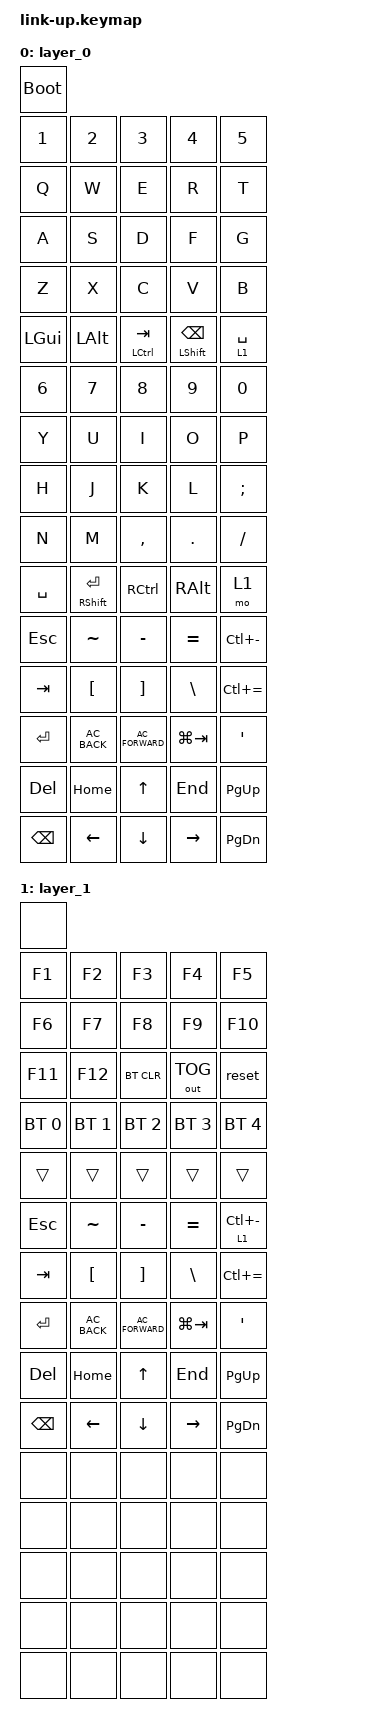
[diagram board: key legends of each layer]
/*
 * Copyright (c) 2020 The ZMK Contributors
 *
 * SPDX-License-Identifier: MIT
 */

#include <behaviors.dtsi>
#include <dt-bindings/zmk/keys.h>
#include <dt-bindings/zmk/bt.h>
#include <dt-bindings/zmk/outputs.h>

#define BACK   C_AC_BACK
#define FWD    C_AC_FORWARD
#define ZM_IN  LC(EQUAL)
#define ZM_OUT LC(MINUS)
#define APPS   LG(TAB)

/ {
	keymap {
		compatible = "zmk,keymap";
		layer_0 {
			bindings = <
&bootloader

&kp N1    &kp N2    &kp N3    &kp N4    &kp N5  
&kp Q     &kp W     &kp E     &kp R     &kp T   
&kp A     &kp S     &kp D     &kp F     &kp G   
&kp Z     &kp X     &kp C     &kp V     &kp B   
&kp LGUI  &kp LALT  &mt LCTRL TAB  &mt LSHFT BSPC  &lt 1 SPACE 

&kp N6    &kp N7    &kp N8    &kp N9    &kp N0   
&kp Y     &kp U     &kp I     &kp O     &kp P    
&kp H     &kp J     &kp K     &kp L     &kp SCLN 
&kp N     &kp M     &kp COMMA  &kp DOT   &kp FSLH 
&kp SPACE &mt RSHFT RET  &kp RCTRL  &kp RALT  &mo 1   

&kp ESC   &kp TILDE &kp MINUS &kp EQUAL &kp ZM_OUT 
&kp TAB   &kp LBKT  &kp RBKT  &kp BSLH  &kp ZM_IN
&kp RET   &kp BACK  &kp FWD   &kp APPS  &kp SQT   
&kp DEL   &kp HOME  &kp UP    &kp END   &kp PG_UP   
&kp BSPC  &kp LEFT  &kp DOWN  &kp RIGHT &kp PG_DN
			>;
		};
		layer_1 {
			bindings = <
&none

&kp F1    &kp F2    &kp F3     &kp F4    &kp F5
&kp F6    &kp F7    &kp F8     &kp F9    &kp F10
&kp F11   &kp F12   &bt BT_CLR &out OUT_TOG &reset
&bt BT_SEL 0 &bt BT_SEL 1 &bt BT_SEL 2 &bt BT_SEL 3 &bt BT_SEL 4
&trans    &trans    &trans     &trans    &trans    

&kp ESC   &kp TILDE &kp MINUS  &kp EQUAL &lt 1 ZM_OUT 
&kp TAB   &kp LBKT  &kp RBKT   &kp BSLH  &kp ZM_IN
&kp RET   &kp BACK  &kp FWD    &kp APPS  &kp SQT   
&kp DEL   &kp HOME  &kp UP     &kp END   &kp PG_UP   
&kp BSPC  &kp LEFT  &kp DOWN   &kp RIGHT &kp PG_DN

&none     &none     &none      &none     &none 
&none     &none     &none      &none     &none 
&none     &none     &none      &none     &none 
&none     &none     &none      &none     &none 
&none     &none     &none      &none     &none 
            >;
		};
	};
};
